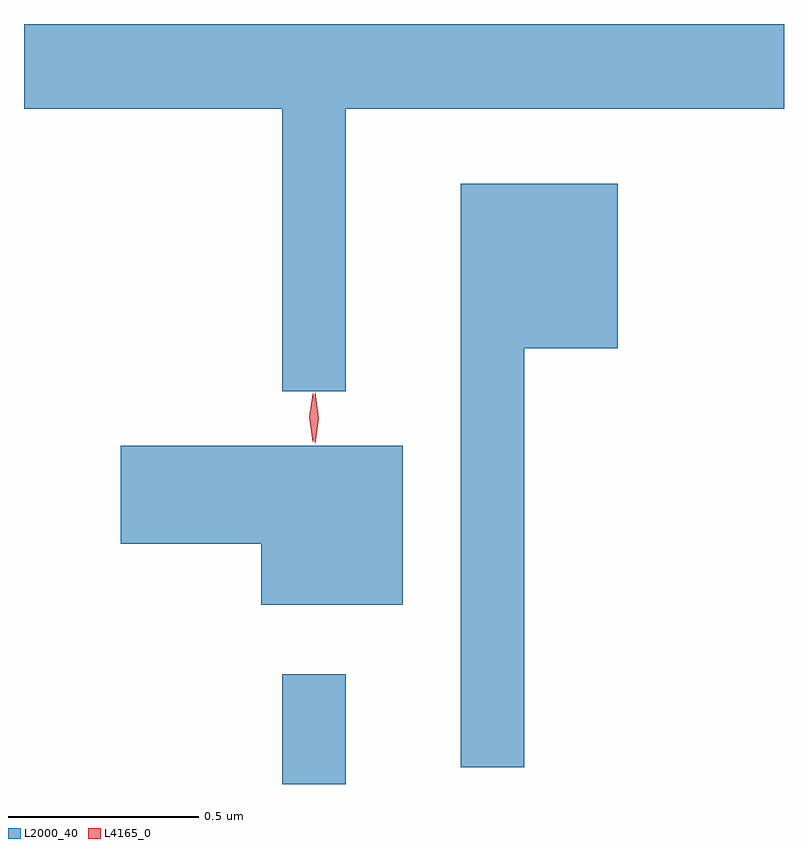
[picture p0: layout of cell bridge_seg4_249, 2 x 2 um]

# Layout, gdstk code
import gdstk
lib = gdstk.Library(unit=1e-6, precision=1e-09)
def R(c, l, rs):  # rectangles x0, y0, x1, y1
    for r in rs: c.add(gdstk.rectangle(r[:2], r[2:], *l))
def P(c, l, *ps):  # polygons
    for p in ps: c.add(gdstk.Polygon(p, *l))
L2000_40 = (2000, 40)
L4165_0 = (4165, 0)

bridge_seg4_249 = lib.new_cell('bridge_seg4_249')
R(bridge_seg4_249, L2000_40, [(726.321,1383.979,726.489,1384.268)])
P(bridge_seg4_249, L2000_40, [(726.489,1385.756),(727.642,1385.756),(727.642,1385.979),(725.642,1385.979),(725.642,1385.756),(726.321,1385.756),(726.321,1385.013),(726.489,1385.013)],
  [(726.959,1385.126),(727.204,1385.126),(727.204,1385.559),(726.791,1385.559),(726.791,1384.023),(726.959,1384.023)],
  [(726.639,1384.869),(725.896,1384.869),(725.896,1384.611),(726.266,1384.611),(726.266,1384.451),(726.639,1384.451)])
P(bridge_seg4_249, L4165_0, [(726.408,1384.874),(726.399,1384.942),(726.408,1385.01),(726.408,1385.01),(726.409,1385.01),(726.418,1384.942),(726.409,1384.874),(726.409,1384.874)],
  [(726.402,1384.88),(726.393,1384.944),(726.402,1385.006),(726.403,1385.007),(726.403,1385.006),(726.413,1384.944),(726.403,1384.88),(726.403,1384.88)])

lib.write_gds('bridge_seg4_249.gds')
